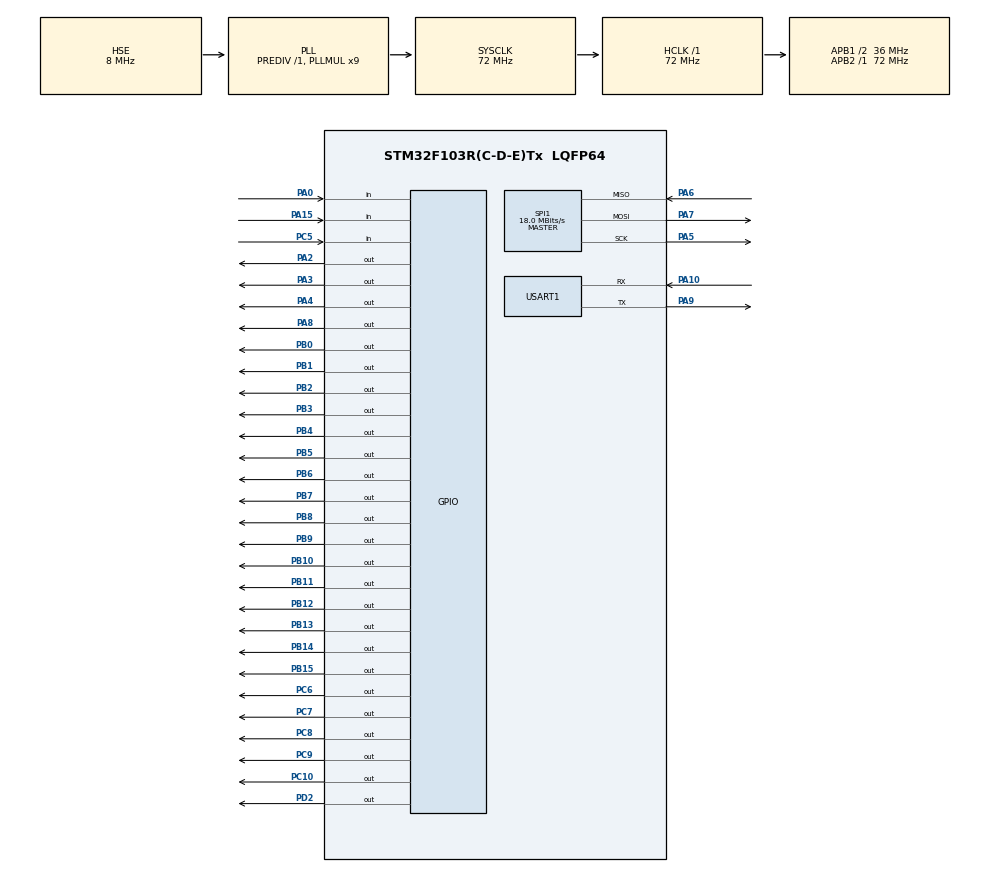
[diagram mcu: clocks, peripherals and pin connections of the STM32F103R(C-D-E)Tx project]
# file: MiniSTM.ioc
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FATFS._CODE_PAGE=936
FATFS._FS_LOCK=0
FATFS._MULTI_PARTITION=0
FATFS._STRF_ENCODE=0
FATFS._USE_LABEL=1
FATFS._USE_LFN=3
FATFS._USE_STRFUNC=1
FATFS._VOLUMES=2
FATFS._WORD_ACCESS=0
Mcu.Family=STM32F1
Mcu.Name=STM32F103R(C-D-E)Tx
Mcu.Package=LQFP64
NVIC.PriorityGroup=NVIC_PRIORITYGROUP_4
PA0-WKUP.GPIO_PuPd=GPIO_PULLDOWN
PA0-WKUP.Signal=GPIO_Input
PA10.Mode=Asynchronous
PA10.Signal=USART1_RX
PA13.Mode=Serial_Wire
PA13.Signal=SYS_JTMS-SWDIO
PA14.Mode=Serial_Wire
PA14.Signal=SYS_JTCK-SWCLK
PA15.GPIO_PuPd=GPIO_PULLUP
PA15.Signal=GPIO_Input
PA2.GPIO_PuPd=GPIO_PULLUP
PA2.GPIO_Speed=GPIO_SPEED_FREQ_HIGH
PA2.Signal=GPIO_Output
PA3.GPIO_PuPd=GPIO_PULLUP
PA3.GPIO_Speed=GPIO_SPEED_FREQ_HIGH
PA3.Signal=GPIO_Output
PA4.GPIO_PuPd=GPIO_PULLUP
PA4.GPIO_Speed=GPIO_SPEED_FREQ_HIGH
PA4.Signal=GPIO_Output
PA5.Mode=Full_Duplex_Master
PA5.Signal=SPI1_SCK
PA6.Mode=Full_Duplex_Master
PA6.Signal=SPI1_MISO
PA7.Mode=Full_Duplex_Master
PA7.Signal=SPI1_MOSI
PA8.GPIO_PuPd=GPIO_PULLUP
PA8.GPIO_Speed=GPIO_SPEED_FREQ_HIGH
PA8.Signal=GPIO_Output
PA9.Mode=Asynchronous
PA9.Signal=USART1_TX
PB0.GPIO_PuPd=GPIO_PULLUP
PB0.GPIO_Speed=GPIO_SPEED_FREQ_HIGH
PB0.Signal=GPIO_Output
PB1.GPIO_PuPd=GPIO_PULLUP
PB1.GPIO_Speed=GPIO_SPEED_FREQ_HIGH
PB1.Signal=GPIO_Output
PB10.GPIO_PuPd=GPIO_PULLUP
PB10.GPIO_Speed=GPIO_SPEED_FREQ_HIGH
PB10.Signal=GPIO_Output
PB11.GPIO_PuPd=GPIO_PULLUP
PB11.GPIO_Speed=GPIO_SPEED_FREQ_HIGH
PB11.Signal=GPIO_Output
PB12.GPIO_PuPd=GPIO_PULLUP
PB12.GPIO_Speed=GPIO_SPEED_FREQ_HIGH
PB12.Signal=GPIO_Output
PB13.GPIO_PuPd=GPIO_PULLUP
PB13.GPIO_Speed=GPIO_SPEED_FREQ_HIGH
PB13.Signal=GPIO_Output
PB14.GPIO_PuPd=GPIO_PULLUP
PB14.GPIO_Speed=GPIO_SPEED_FREQ_HIGH
PB14.Signal=GPIO_Output
PB15.GPIO_PuPd=GPIO_PULLUP
PB15.GPIO_Speed=GPIO_SPEED_FREQ_HIGH
PB15.Signal=GPIO_Output
PB2.GPIO_PuPd=GPIO_PULLUP
PB2.GPIO_Speed=GPIO_SPEED_FREQ_HIGH
PB2.Signal=GPIO_Output
PB3.GPIO_PuPd=GPIO_PULLUP
PB3.GPIO_Speed=GPIO_SPEED_FREQ_HIGH
PB3.Signal=GPIO_Output
PB4.GPIO_PuPd=GPIO_PULLUP
PB4.GPIO_Speed=GPIO_SPEED_FREQ_HIGH
PB4.Signal=GPIO_Output
PB5.GPIO_PuPd=GPIO_PULLUP
PB5.GPIO_Speed=GPIO_SPEED_FREQ_HIGH
PB5.Signal=GPIO_Output
PB6.GPIO_PuPd=GPIO_PULLUP
PB6.GPIO_Speed=GPIO_SPEED_FREQ_HIGH
PB6.Signal=GPIO_Output
PB7.GPIO_PuPd=GPIO_PULLUP
PB7.GPIO_Speed=GPIO_SPEED_FREQ_HIGH
PB7.Signal=GPIO_Output
PB8.GPIO_PuPd=GPIO_PULLUP
PB8.GPIO_Speed=GPIO_SPEED_FREQ_HIGH
PB8.PinState=GPIO_PIN_SET
PB8.Signal=GPIO_Output
PB9.GPIO_PuPd=GPIO_PULLUP
PB9.GPIO_Speed=GPIO_SPEED_FREQ_HIGH
PB9.Signal=GPIO_Output
PC10.GPIO_PuPd=GPIO_PULLUP
PC10.GPIO_Speed=GPIO_SPEED_FREQ_HIGH
PC10.Signal=GPIO_Output
PC14-OSC32_IN.Mode=LSE-External-Oscillator
PC14-OSC32_IN.Signal=RCC_OSC32_IN
PC15-OSC32_OUT.Mode=LSE-External-Oscillator
PC15-OSC32_OUT.Signal=RCC_OSC32_OUT
PC5.GPIO_PuPd=GPIO_PULLUP
PC5.Signal=GPIO_Input
PC6.GPIO_PuPd=GPIO_PULLUP
PC6.GPIO_Speed=GPIO_SPEED_FREQ_HIGH
PC6.Signal=GPIO_Output
PC7.GPIO_PuPd=GPIO_PULLUP
PC7.GPIO_Speed=GPIO_SPEED_FREQ_HIGH
PC7.Signal=GPIO_Output
PC8.GPIO_PuPd=GPIO_PULLUP
PC8.GPIO_Speed=GPIO_SPEED_FREQ_HIGH
PC8.Signal=GPIO_Output
PC9.GPIO_PuPd=GPIO_PULLUP
PC9.GPIO_Speed=GPIO_SPEED_FREQ_HIGH
PC9.Signal=GPIO_Output
PD0-OSC_IN.Mode=HSE-External-Oscillator
PD0-OSC_IN.Signal=RCC_OSC_IN
PD1-OSC_OUT.Mode=HSE-External-Oscillator
PD1-OSC_OUT.Signal=RCC_OSC_OUT
PD2.GPIO_PuPd=GPIO_PULLUP
PD2.GPIO_Speed=GPIO_SPEED_FREQ_HIGH
PD2.PinState=GPIO_PIN_SET
PD2.Signal=GPIO_Output
ProjectManager.HeapSize=0x400
ProjectManager.StackSize=0x200
ProjectManager.TargetToolchain=MDK-ARM V5.32
RCC.ADCPresc=RCC_ADCPCLK2_DIV6
RCC.AHBFreq_Value=72000000
RCC.APB1CLKDivider=RCC_HCLK_DIV2
RCC.APB1Freq_Value=36000000
RCC.APB1TimFreq_Value=72000000
RCC.APB2Freq_Value=72000000
RCC.APB2TimFreq_Value=72000000
RCC.HCLKFreq_Value=72000000
RCC.PLLMUL=RCC_PLL_MUL9
RCC.PLLSourceVirtual=RCC_PLLSOURCE_HSE
RCC.SYSCLKFreq_VALUE=72000000
RCC.SYSCLKSource=RCC_SYSCLKSOURCE_PLLCLK
RCC.USBFreq_Value=72000000
SPI1.BaudRatePrescaler=SPI_BAUDRATEPRESCALER_4
SPI1.CLKPhase=SPI_PHASE_2EDGE
SPI1.CLKPolarity=SPI_POLARITY_HIGH
SPI1.CalculateBaudRate=18.0 MBits/s
SPI1.Direction=SPI_DIRECTION_2LINES
SPI1.Mode=SPI_MODE_MASTER
SPI1.VirtualType=VM_MASTER
TIM4.AutoReloadPreload=TIM_AUTORELOAD_PRELOAD_DISABLE
TIM4.Channel-Output\ Compare1\ No\ Output=TIM_CHANNEL_1
TIM4.Period=1000
TIM4.Prescaler=8399
USART1.VirtualMode=VM_ASYNC
VP_FATFS_VS_Generic.Mode=User_defined
VP_TIM4_VS_ClockSourceITR.Mode=TriggerSource_ITR0
board=custom

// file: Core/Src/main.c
/* USER CODE BEGIN Header */
/**
 ******************************************************************************
 * @file           : main.c
 * @brief          : Main program body
 ******************************************************************************
 * @attention
 *
 * Copyright (c) 2022 STMicroelectronics.
 * All rights reserved.
 *
 * This software is licensed under terms that can be found in the LICENSE file
 * in the root directory of this software component.
 * If no LICENSE file comes with this software, it is provided AS-IS.
 *
 ******************************************************************************
 */
/* USER CODE END Header */
#include "main.h"
#include "fatfs.h"
#include "spi.h"
#include "tim.h"
#include "usart.h"
#include "gpio.h"

/* USER CODE BEGIN Includes */
#include "led.h"
#include "key.h"
#include "lcd.h"
#include "uart.h"
#include "usmart.h"
#include "w25qxx.h"
#include "malloc.h"
#include "mmc_sd.h"
#include "string.h"
#include "exfuns.h"
/* USER CODE END Includes */

void SystemClock_Config(void);

int main(void)
{
  /* USER CODE BEGIN 1 */
	uint32_t total, free;
	uint8_t t = 0;
  /* USER CODE END 1 */

  /* MCU Configuration--------------------------------------------------------*/

  /* Reset of all peripherals, Initializes the Flash interface and the Systick. */
  HAL_Init();

  /* Configure the system clock */
  SystemClock_Config();

  /* Initialize all configured peripherals */
  MX_GPIO_Init();
  MX_USART1_UART_Init();
  MX_TIM4_Init();
  MX_SPI1_Init();
  MX_FATFS_Init();
  /* USER CODE BEGIN 2 */
	LCD_Init();
	mem_init();

	HAL_NVIC_EnableIRQ(TIM4_IRQn);
	HAL_NVIC_SetPriority(TIM4_IRQn, 9, 0);
	HAL_TIM_Base_Start_IT(&htim4);

	HAL_NVIC_EnableIRQ(USART1_IRQn);
	HAL_NVIC_SetPriority(USART1_IRQn, 9, 0);
	HAL_UART_Receive_IT(&huart1, (uint8_t *)aRxBuffer, RXBUFFERSIZE);

	POINT_COLOR = RED;
	LCD_ShowString(30, 50, 200, 16, 16, "Mini STM32");
	LCD_ShowString(30, 70, 200, 16, 16, "FATFS TEST");
	LCD_ShowString(30, 90, 200, 16, 16, "ATOM@ALIENTEK");
	LCD_ShowString(30, 110, 200, 16, 16, "2019/11/18");
	LCD_ShowString(30, 130, 200, 16, 16, "Use USMART for test");
	while (SD_Init())
	{
		LCD_ShowString(30, 150, 200, 16, 16, "SD Card Error!");
		HAL_Delay(500);
		LCD_ShowString(30, 150, 200, 16, 16, "Please Check! ");
		HAL_Delay(500);
		LED0 = !LED0;
	}
	exfuns_init();
	f_mount(fs[0], "0:", 1);

	LCD_Fill(30, 150, 240, 150 + 16, WHITE);
	while (exf_getfree("0:", &total, &free))
	{
		LCD_ShowString(30, 150, 200, 16, 16, "SD Card Fatfs Error!");
		HAL_Delay(200);
		LCD_Fill(30, 150, 240, 150 + 16, WHITE);
		HAL_Delay(200);
		LED0 = !LED0;
	}
	POINT_COLOR = BLUE;
	LCD_ShowString(30, 150, 200, 16, 16, "FATFS OK!");
	LCD_ShowString(30, 170, 200, 16, 16, "SD Total Size:     MB");
	LCD_ShowString(30, 190, 200, 16, 16, "SD  Free Size:     MB");
	LCD_ShowNum(30 + 8 * 14, 170, total >> 10, 5, 16);
	LCD_ShowNum(30 + 8 * 14, 190, free >> 10, 5, 16);
  /* USER CODE END 2 */

  /* Infinite loop */
  /* USER CODE BEGIN WHILE */
	while (1)
	{
		t++;
		HAL_Delay(200);
		LED0 = !LED0;
    /* USER CODE END WHILE */

	}
}

void SystemClock_Config(void)
{
  RCC_OscInitTypeDef RCC_OscInitStruct = {0};
  RCC_ClkInitTypeDef RCC_ClkInitStruct = {0};

  /** Initializes the RCC Oscillators according to the specified parameters
  * in the RCC_OscInitTypeDef structure.
  */
  RCC_OscInitStruct.OscillatorType = RCC_OSCILLATORTYPE_HSE;
  RCC_OscInitStruct.HSEState = RCC_HSE_ON;
  RCC_OscInitStruct.HSEPredivValue = RCC_HSE_PREDIV_DIV1;
  RCC_OscInitStruct.HSIState = RCC_HSI_ON;
  RCC_OscInitStruct.PLL.PLLState = RCC_PLL_ON;
  RCC_OscInitStruct.PLL.PLLSource = RCC_PLLSOURCE_HSE;
  RCC_OscInitStruct.PLL.PLLMUL = RCC_PLL_MUL9;
  if (HAL_RCC_OscConfig(&RCC_OscInitStruct) != HAL_OK)
  {
    Error_Handler();
  }

  /** Initializes the CPU, AHB and APB buses clocks
  */
  RCC_ClkInitStruct.ClockType = RCC_CLOCKTYPE_HCLK|RCC_CLOCKTYPE_SYSCLK
                              |RCC_CLOCKTYPE_PCLK1|RCC_CLOCKTYPE_PCLK2;
  RCC_ClkInitStruct.SYSCLKSource = RCC_SYSCLKSOURCE_PLLCLK;
  RCC_ClkInitStruct.AHBCLKDivider = RCC_SYSCLK_DIV1;
  RCC_ClkInitStruct.APB1CLKDivider = RCC_HCLK_DIV2;
  RCC_ClkInitStruct.APB2CLKDivider = RCC_HCLK_DIV1;

  if (HAL_RCC_ClockConfig(&RCC_ClkInitStruct, FLASH_LATENCY_2) != HAL_OK)
  {
    Error_Handler();
  }
}

void Error_Handler(void)
{
	__disable_irq();
	while (1)
	{
	}
}
